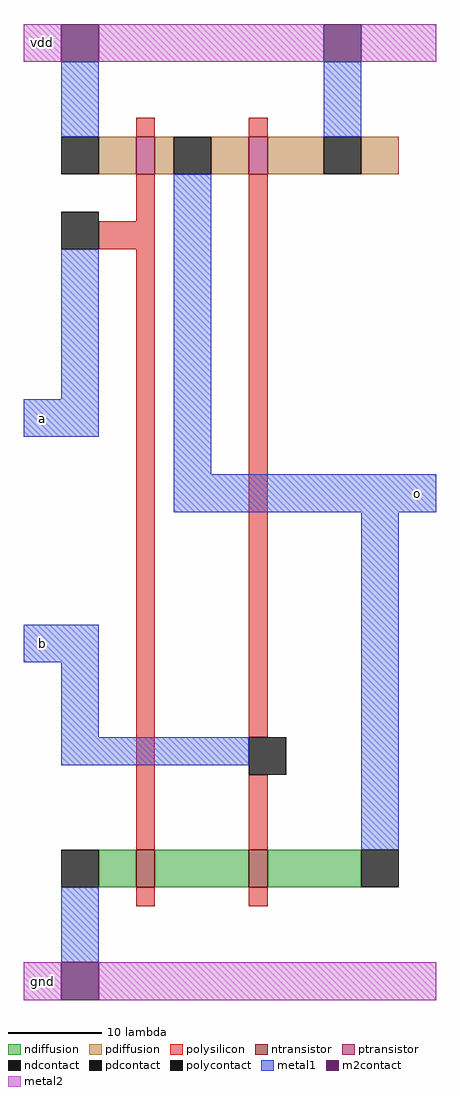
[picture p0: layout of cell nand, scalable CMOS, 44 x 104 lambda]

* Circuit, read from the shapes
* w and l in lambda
.subckt nand a b gnd o vdd
M1 n1 a gnd VSUBS nfet w=4 l=2
M2 o b n1 VSUBS nfet w=4 l=2
M3 o a vdd NWELL pfet w=4 l=2
M4 vdd b o NWELL pfet w=4 l=2
.ends

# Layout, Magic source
magic
tech scmos
<< polysilicon >>
rect 12 92 14 94
rect 24 92 26 94
rect 12 83 14 88
rect 8 80 14 83
rect 12 16 14 80
rect 24 28 26 88
rect 24 16 26 24
rect 12 10 14 12
rect 24 10 26 12
<< ndiffusion >>
rect 8 12 12 16
rect 14 12 24 16
rect 26 12 36 16
<< pdiffusion >>
rect 8 88 12 92
rect 14 88 16 92
rect 20 88 24 92
rect 26 88 32 92
rect 36 88 40 92
<< metal1 >>
rect 4 92 8 100
rect 32 92 36 100
rect 4 64 8 80
rect 0 60 8 64
rect 16 56 20 88
rect 16 52 44 56
rect 0 36 8 40
rect 4 28 8 36
rect 4 25 24 28
rect 36 16 40 52
rect 4 4 8 12
<< metal2 >>
rect 0 100 4 104
rect 8 100 32 104
rect 36 100 44 104
rect 0 0 4 4
rect 8 0 44 4
<< ntransistor >>
rect 12 12 14 16
rect 24 12 26 16
<< ptransistor >>
rect 12 88 14 92
rect 24 88 26 92
<< polycontact >>
rect 4 80 8 84
rect 24 24 28 28
<< ndcontact >>
rect 4 12 8 16
rect 36 12 40 16
<< pdcontact >>
rect 4 88 8 92
rect 16 88 20 92
rect 32 88 36 92
<< m2contact >>
rect 4 100 8 104
rect 32 100 36 104
rect 4 0 8 4
<< labels >>
rlabel metal2 2 102 2 102 4 vdd
rlabel metal2 2 2 2 2 2 gnd
rlabel metal1 2 62 2 62 3 a
rlabel metal1 0 36 4 40 3 b
rlabel metal1 42 54 42 54 7 o
<< end >>
